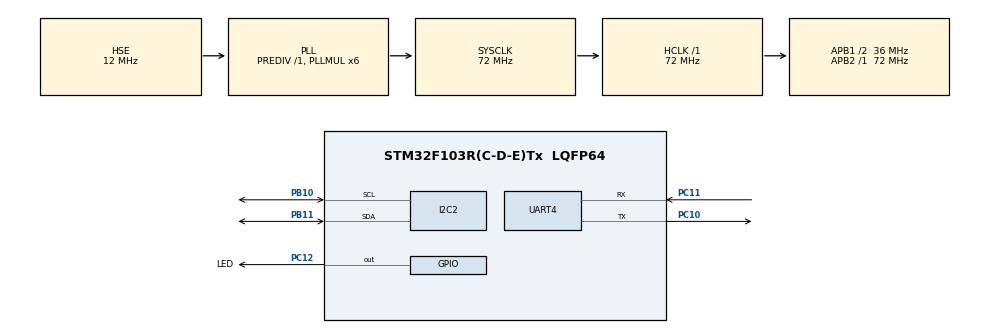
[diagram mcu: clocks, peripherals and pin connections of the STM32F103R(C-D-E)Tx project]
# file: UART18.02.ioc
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Mcu.Family=STM32F1
Mcu.Name=STM32F103R(C-D-E)Tx
Mcu.Package=LQFP64
NVIC.PriorityGroup=NVIC_PRIORITYGROUP_4
NVIC.UART4_IRQn=true\:0\:0\:false\:false\:true\:true
PA13.Mode=Serial_Wire
PA13.Signal=SYS_JTMS-SWDIO
PA14.Mode=Serial_Wire
PA14.Signal=SYS_JTCK-SWCLK
PB10.Mode=I2C
PB10.Signal=I2C2_SCL
PB11.Mode=I2C
PB11.Signal=I2C2_SDA
PC10.Mode=Asynchronous
PC10.Signal=UART4_TX
PC11.Mode=Asynchronous
PC11.Signal=UART4_RX
PC12.GPIO_Label=LED
PC12.Signal=GPIO_Output
PD0-OSC_IN.Mode=HSE-External-Oscillator
PD0-OSC_IN.Signal=RCC_OSC_IN
PD1-OSC_OUT.Mode=HSE-External-Oscillator
PD1-OSC_OUT.Signal=RCC_OSC_OUT
ProjectManager.HeapSize=0x200
ProjectManager.StackSize=0x400
ProjectManager.TargetToolchain=MDK-ARM V5
RCC.AHBFreq_Value=72000000
RCC.APB1CLKDivider=RCC_HCLK_DIV2
RCC.APB1Freq_Value=36000000
RCC.APB1TimFreq_Value=72000000
RCC.APB2Freq_Value=72000000
RCC.APB2TimFreq_Value=72000000
RCC.HCLKFreq_Value=72000000
RCC.HSE_VALUE=12000000
RCC.PLLMUL=RCC_PLL_MUL6
RCC.PLLSourceVirtual=RCC_PLLSOURCE_HSE
RCC.SYSCLKFreq_VALUE=72000000
RCC.SYSCLKSource=RCC_SYSCLKSOURCE_PLLCLK
RCC.USBFreq_Value=72000000
UART4.VirtualMode=Asynchronous
board=UART18.02

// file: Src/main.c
/**
  ******************************************************************************
  * File Name          : main.c
  * Description        : Main program body
  ******************************************************************************
  ** This notice applies to any and all portions of this file
  * that are not between comment pairs USER CODE BEGIN and
  * USER CODE END. Other portions of this file, whether
  * inserted by the user or by software development tools
  * are owned by their respective copyright owners.
  *
  * COPYRIGHT(c) 2020 STMicroelectronics
  *
  * Redistribution and use in source and binary forms, with or without modification,
  * are permitted provided that the following conditions are met:
  *   1. Redistributions of source code must retain the above copyright notice,
  *      this list of conditions and the following disclaimer.
  *   2. Redistributions in binary form must reproduce the above copyright notice,
  *      this list of conditions and the following disclaimer in the documentation
  *      and/or other materials provided with the distribution.
  *   3. Neither the name of STMicroelectronics nor the names of its contributors
  *      may be used to endorse or promote products derived from this software
  *      without specific prior written permission.
  *
  * THIS SOFTWARE IS PROVIDED BY THE COPYRIGHT HOLDERS AND CONTRIBUTORS "AS IS"
  * AND ANY EXPRESS OR IMPLIED WARRANTIES, INCLUDING, BUT NOT LIMITED TO, THE
  * IMPLIED WARRANTIES OF MERCHANTABILITY AND FITNESS FOR A PARTICULAR PURPOSE ARE
  * DISCLAIMED. IN NO EVENT SHALL THE COPYRIGHT HOLDER OR CONTRIBUTORS BE LIABLE
  * FOR ANY DIRECT, INDIRECT, INCIDENTAL, SPECIAL, EXEMPLARY, OR CONSEQUENTIAL
  * DAMAGES (INCLUDING, BUT NOT LIMITED TO, PROCUREMENT OF SUBSTITUTE GOODS OR
  * SERVICES; LOSS OF USE, DATA, OR PROFITS; OR BUSINESS INTERRUPTION) HOWEVER
  * CAUSED AND ON ANY THEORY OF LIABILITY, WHETHER IN CONTRACT, STRICT LIABILITY,
  * OR TORT (INCLUDING NEGLIGENCE OR OTHERWISE) ARISING IN ANY WAY OUT OF THE USE
  * OF THIS SOFTWARE, EVEN IF ADVISED OF THE POSSIBILITY OF SUCH DAMAGE.
  *
  ******************************************************************************
  */

#include "main.h"
#include "stm32f1xx_hal.h"

/* USER CODE BEGIN Includes */
#include "i2c-lcd.h"
#include "stdio.h"
/* USER CODE END Includes */

I2C_HandleTypeDef hi2c2;

UART_HandleTypeDef huart4;

/* USER CODE BEGIN PV */
/* Private variables ---------------------------------------------------------*/
unsigned char ESP[50];
/* USER CODE END PV */

void SystemClock_Config(void);
static void MX_GPIO_Init(void);
static void MX_I2C2_Init(void);
static void MX_UART4_Init(void);

/* USER CODE BEGIN PFP */
/* Private function prototypes -----------------------------------------------*/

/* USER CODE END PFP */

int main(void)
{

  /* MCU Configuration----------------------------------------------------------*/

  /* Reset of all peripherals, Initializes the Flash interface and the Systick. */
  HAL_Init();

  /* Configure the system clock */
  SystemClock_Config();

  /* Initialize all configured peripherals */
  MX_GPIO_Init();
  MX_I2C2_Init();
  MX_UART4_Init();

  /* USER CODE BEGIN 2 */
	lcd_init();
  /* USER CODE END 2 */

  /* Infinite loop */
  while (1)
  {

  /* USER CODE BEGIN 3 */
		sprintf(ESP,"AT+CWMODE=3");
		lcd_goto_XY(1,4);
		lcd_send_string("AGV_UART");
		lcd_goto_XY(2,0);
		lcd_send_string(ESP);
		HAL_UART_Transmit(&huart4,ESP,sizeof(ESP),1000);
		HAL_Delay(5000);
				sprintf(ESP,"\n");
		lcd_goto_XY(1,4);
		lcd_send_string("AGV_UART");
		lcd_goto_XY(2,0);
		lcd_send_string(ESP);
		HAL_UART_Transmit(&huart4,ESP,sizeof(ESP),1000);
		HAL_Delay(5000);
//		sprintf(ESP,"\nAT+CWSAP=\"Lam\",\"12345678\",5,3");
//		lcd_goto_XY(2,0);
//		lcd_send_string(ESP);
//		HAL_UART_Transmit(&huart4,ESP,sizeof(ESP),1000);
//		HAL_Delay(5000);
		sprintf(ESP,"AT+CWSAP=\"LaamDZ\",\"12345678\",5,3");
		lcd_goto_XY(2,0);
		lcd_send_string(ESP);
		HAL_UART_Transmit(&huart4,ESP,sizeof(ESP),1000);
		HAL_Delay(5000);
//		sprintf(ESP,"\nAT+CWSAP=\"Lam\",\"12345678\",5,4");
//		lcd_goto_XY(2,0);
//		lcd_send_string(ESP);
//		HAL_UART_Transmit(&huart4,ESP,sizeof(ESP),1000);
//		HAL_Delay(10000);
				sprintf(ESP,"\n");
		lcd_goto_XY(1,4);
		lcd_send_string("AGV_UART");
		lcd_goto_XY(2,0);
		lcd_send_string(ESP);
		HAL_UART_Transmit(&huart4,ESP,sizeof(ESP),1000);
		HAL_Delay(500000);
  }
  /* USER CODE END 3 */

}

/** System Clock Configuration
*/
void SystemClock_Config(void)
{

  RCC_OscInitTypeDef RCC_OscInitStruct;
  RCC_ClkInitTypeDef RCC_ClkInitStruct;

    /**Initializes the CPU, AHB and APB busses clocks
    */
  RCC_OscInitStruct.OscillatorType = RCC_OSCILLATORTYPE_HSE;
  RCC_OscInitStruct.HSEState = RCC_HSE_ON;
  RCC_OscInitStruct.HSEPredivValue = RCC_HSE_PREDIV_DIV1;
  RCC_OscInitStruct.HSIState = RCC_HSI_ON;
  RCC_OscInitStruct.PLL.PLLState = RCC_PLL_ON;
  RCC_OscInitStruct.PLL.PLLSource = RCC_PLLSOURCE_HSE;
  RCC_OscInitStruct.PLL.PLLMUL = RCC_PLL_MUL6;
  if (HAL_RCC_OscConfig(&RCC_OscInitStruct) != HAL_OK)
  {
    _Error_Handler(__FILE__, __LINE__);
  }

    /**Initializes the CPU, AHB and APB busses clocks
    */
  RCC_ClkInitStruct.ClockType = RCC_CLOCKTYPE_HCLK|RCC_CLOCKTYPE_SYSCLK
                              |RCC_CLOCKTYPE_PCLK1|RCC_CLOCKTYPE_PCLK2;
  RCC_ClkInitStruct.SYSCLKSource = RCC_SYSCLKSOURCE_PLLCLK;
  RCC_ClkInitStruct.AHBCLKDivider = RCC_SYSCLK_DIV1;
  RCC_ClkInitStruct.APB1CLKDivider = RCC_HCLK_DIV2;
  RCC_ClkInitStruct.APB2CLKDivider = RCC_HCLK_DIV1;

  if (HAL_RCC_ClockConfig(&RCC_ClkInitStruct, FLASH_LATENCY_2) != HAL_OK)
  {
    _Error_Handler(__FILE__, __LINE__);
  }

    /**Configure the Systick interrupt time
    */
  HAL_SYSTICK_Config(HAL_RCC_GetHCLKFreq()/1000);

    /**Configure the Systick
    */
  HAL_SYSTICK_CLKSourceConfig(SYSTICK_CLKSOURCE_HCLK);

  /* SysTick_IRQn interrupt configuration */
  HAL_NVIC_SetPriority(SysTick_IRQn, 0, 0);
}

/* I2C2 init function */
static void MX_I2C2_Init(void)
{

  hi2c2.Instance = I2C2;
  hi2c2.Init.ClockSpeed = 100000;
  hi2c2.Init.DutyCycle = I2C_DUTYCYCLE_2;
  hi2c2.Init.OwnAddress1 = 0;
  hi2c2.Init.AddressingMode = I2C_ADDRESSINGMODE_7BIT;
  hi2c2.Init.DualAddressMode = I2C_DUALADDRESS_DISABLE;
  hi2c2.Init.OwnAddress2 = 0;
  hi2c2.Init.GeneralCallMode = I2C_GENERALCALL_DISABLE;
  hi2c2.Init.NoStretchMode = I2C_NOSTRETCH_DISABLE;
  if (HAL_I2C_Init(&hi2c2) != HAL_OK)
  {
    _Error_Handler(__FILE__, __LINE__);
  }

}

/* UART4 init function */
static void MX_UART4_Init(void)
{

  huart4.Instance = UART4;
  huart4.Init.BaudRate = 115200;
  huart4.Init.WordLength = UART_WORDLENGTH_8B;
  huart4.Init.StopBits = UART_STOPBITS_1;
  huart4.Init.Parity = UART_PARITY_NONE;
  huart4.Init.Mode = UART_MODE_TX_RX;
  huart4.Init.HwFlowCtl = UART_HWCONTROL_NONE;
  huart4.Init.OverSampling = UART_OVERSAMPLING_16;
  if (HAL_UART_Init(&huart4) != HAL_OK)
  {
    _Error_Handler(__FILE__, __LINE__);
  }

}

/** Configure pins as
        * Analog
        * Input
        * Output
        * EVENT_OUT
        * EXTI
*/
static void MX_GPIO_Init(void)
{

  GPIO_InitTypeDef GPIO_InitStruct;

  /* GPIO Ports Clock Enable */
  __HAL_RCC_GPIOD_CLK_ENABLE();
  __HAL_RCC_GPIOB_CLK_ENABLE();
  __HAL_RCC_GPIOA_CLK_ENABLE();
  __HAL_RCC_GPIOC_CLK_ENABLE();

  /*Configure GPIO pin Output Level */
  HAL_GPIO_WritePin(LED_GPIO_Port, LED_Pin, GPIO_PIN_RESET);

  /*Configure GPIO pin : LED_Pin */
  GPIO_InitStruct.Pin = LED_Pin;
  GPIO_InitStruct.Mode = GPIO_MODE_OUTPUT_PP;
  GPIO_InitStruct.Speed = GPIO_SPEED_FREQ_LOW;
  HAL_GPIO_Init(LED_GPIO_Port, &GPIO_InitStruct);

}

void _Error_Handler(char * file, int line)
{
  while(1)
  {
  }
}

/************************ (C) COPYRIGHT STMicroelectronics *****END OF FILE****/
